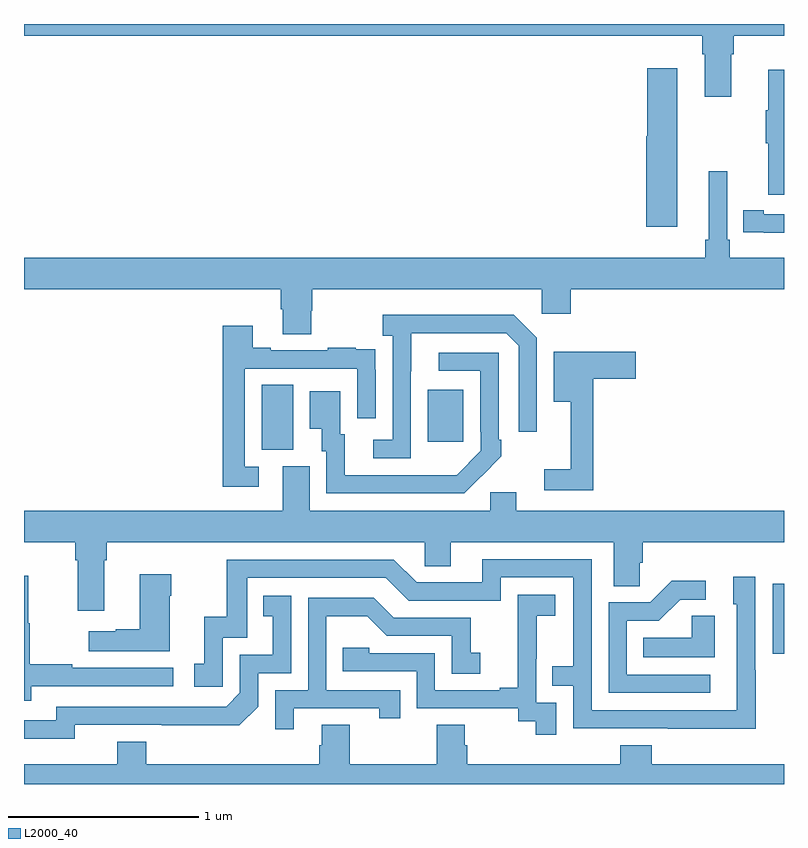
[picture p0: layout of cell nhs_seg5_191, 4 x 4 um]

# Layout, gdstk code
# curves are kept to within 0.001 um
import gdstk
lib = gdstk.Library(unit=1e-6, precision=1e-09)
def R(c, l, rs):  # rectangles x0, y0, x1, y1
    for r in rs: c.add(gdstk.rectangle(r[:2], r[2:], *l))
def P(c, l, *ps):  # polygons
    for p in ps: c.add(gdstk.Polygon(p, *l))
L2000_40 = (2000, 40)

nhs_seg5_191 = lib.new_cell('nhs_seg5_191')
R(nhs_seg5_191, L2000_40, [(124.941,877.485,125,877.854), (122.252,878.557,122.416,878.9), (123.125,878.601,123.313,878.875)])
P(nhs_seg5_191, L2000_40, [(124.723,880.64),(124.736,880.64),(124.736,880.736),(125,880.736),(125,880.799),(121,880.799),(121,880.736),(124.571,880.736),(124.571,880.64),(124.583,880.64),(124.583,880.416),(124.723,880.416)],
  [(124.438,880.567),(124.28,880.567),(124.28,880.209),(124.274,880.209),(124.274,879.732),(124.438,879.732)],
  [(125,880.558),(124.916,880.558),(124.916,880.345),(124.905,880.345),(124.905,880.171),(124.916,880.171),(124.916,879.9),(125,879.9)],
  [(122.511,879.291),(122.516,879.291),(122.516,879.404),(123.726,879.404),(123.726,879.273),(123.878,879.273),(123.878,879.404),(125,879.404),(125,879.568),(124.715,879.568),(124.715,879.664),(124.701,879.664),(124.701,880.024),(124.604,880.024),(124.604,879.664),(124.585,879.664),(124.585,879.568),(121,879.568),(121,879.404),(122.351,879.404),(122.351,879.298),(122.363,879.298),(122.363,879.166),(122.511,879.166)],
  [(125,879.798),(124.894,879.798),(124.894,879.818),(124.786,879.818),(124.786,879.702),(124.894,879.702),(124.894,879.701),(125,879.701)],
  [(123.036,878.971),(123.037,879.171),(123.537,879.171),(123.603,879.105),(123.603,878.652),(123.699,878.652),(123.699,879.147),(123.578,879.268),(122.889,879.268),(122.889,879.158),(122.94,879.158),(122.94,878.61),(122.838,878.61),(122.838,878.514),(123.036,878.514)],
  [(122.236,878.469),(122.163,878.469),(122.163,878.985),(122.754,878.985),(122.754,878.724),(122.85,878.724),(122.85,878.978),(122.849,878.978),(122.849,879.087),(122.747,879.087),(122.747,879.094),(122.599,879.094),(122.599,879.081),(122.299,879.081),(122.299,879.094),(122.203,879.094),(122.203,879.211),(122.047,879.211),(122.047,878.364),(122.236,878.364)],
  [(123.995,878.933),(124.219,878.933),(124.219,879.075),(123.788,879.075),(123.788,878.81),(123.878,878.81),(123.878,878.455),(123.738,878.455),(123.738,878.346),(123.995,878.346)],
  [(123.407,878.419),(123.408,878.418),(123.513,878.523),(123.513,878.611),(123.498,878.611),(123.498,879.069),(123.183,879.069),(123.183,878.973),(123.402,878.973),(123.402,878.653),(123.405,878.653),(123.405,878.553),(123.277,878.425),(122.689,878.424),(122.689,878.64),(122.665,878.64),(122.665,878.866),(122.504,878.866),(122.504,878.669),(122.567,878.669),(122.567,878.55),(122.592,878.55),(122.592,878.328),(123.316,878.328)],
  [(121.423,877.976),(121.436,877.976),(121.436,878.072),(123.108,878.072),(123.108,877.945),(123.247,877.945),(123.247,878.072),(124.103,878.072),(124.103,877.84),(124.242,877.84),(124.242,877.963),(124.256,877.963),(124.256,878.072),(125,878.072),(125,878.236),(123.592,878.236),(123.592,878.334),(123.453,878.334),(123.453,878.236),(122.503,878.236),(122.503,878.472),(122.363,878.472),(122.363,878.236),(121,878.236),(121,878.072),(121.271,878.072),(121.271,877.976),(121.283,877.976),(121.283,877.71),(121.423,877.71)],
  [(124.851,877.397),(124.848,877.397),(124.848,877.891),(124.733,877.891),(124.733,877.746),(124.752,877.746),(124.752,877.188),(123.987,877.188),(123.987,877.983),(123.413,877.983),(123.413,877.86),(123.066,877.86),(122.946,877.98),(122.067,877.98),(122.067,877.678),(121.949,877.678),(121.949,877.431),(121.896,877.431),(121.896,877.311),(122.046,877.311),(122.046,877.569),(122.175,877.569),(122.175,877.884),(122.904,877.884),(123.024,877.764),(123.51,877.764),(123.51,877.887),(123.891,877.887),(123.891,877.418),(123.781,877.418),(123.781,877.317),(123.891,877.317),(123.891,877.092),(124.851,877.091)],
  [(121.768,877.79),(121.776,877.79),(121.776,877.903),(121.61,877.903),(121.61,877.613),(121.484,877.613),(121.484,877.603),(121.341,877.603),(121.341,877.499),(121.768,877.499)],
  [(121.037,877.314),(121.786,877.314),(121.786,877.41),(121.253,877.41),(121.253,877.43),(121.03,877.43),(121.03,877.644),(121.022,877.644),(121.022,877.894),(121,877.894),(121,877.236),(121.037,877.236)],
  [(124.612,877.374),(124.173,877.374),(124.173,877.659),(124.342,877.659),(124.453,877.77),(124.588,877.77),(124.588,877.868),(124.409,877.868),(124.296,877.755),(124.077,877.755),(124.077,877.278),(124.612,877.278)],
  [(123.801,877.227),(123.696,877.227),(123.696,877.457),(123.698,877.457),(123.698,877.685),(123.796,877.685),(123.796,877.795),(123.598,877.795),(123.598,877.589),(123.599,877.589),(123.599,877.306),(123.503,877.306),(123.503,877.293),(123.162,877.293),(123.162,877.488),(122.817,877.488),(122.817,877.515),(122.677,877.515),(122.677,877.392),(123.066,877.392),(123.066,877.197),(123.6,877.197),(123.6,877.129),(123.693,877.129),(123.693,877.059),(123.801,877.059)],
  [(121.266,877.11),(122.134,877.109),(122.232,877.206),(122.232,877.383),(122.406,877.383),(122.406,877.789),(122.26,877.789),(122.26,877.683),(122.309,877.683),(122.309,877.479),(122.136,877.479),(122.136,877.278),(122.064,877.206),(121.17,877.206),(121.17,877.134),(121,877.134),(121,877.037),(121.266,877.037)],
  [(122.419,877.197),(122.87,877.197),(122.87,877.146),(122.981,877.146),(122.981,877.293),(122.592,877.293),(122.592,877.682),(122.806,877.682),(122.91,877.578),(123.252,877.578),(123.252,877.38),(123.4,877.38),(123.4,877.489),(123.351,877.489),(123.351,877.674),(122.947,877.674),(122.842,877.779),(122.496,877.779),(122.496,877.293),(122.322,877.293),(122.322,877.086),(122.419,877.086)],
  [(124.636,877.685),(124.515,877.685),(124.515,877.57),(124.258,877.57),(124.258,877.466),(124.636,877.466)],
  [(125,876.904),(124.304,876.904),(124.304,877.003),(124.139,877.003),(124.139,876.904),(123.332,876.904),(123.332,877.002),(123.319,877.002),(123.319,877.112),(123.172,877.112),(123.172,876.904),(122.715,876.904),(122.715,877.112),(122.567,877.112),(122.567,877.002),(122.555,877.002),(122.555,876.904),(121.643,876.904),(121.643,877.021),(121.49,877.021),(121.49,876.904),(121,876.904),(121,876.799),(125,876.799)])

lib.write_gds('nhs_seg5_191.gds')
